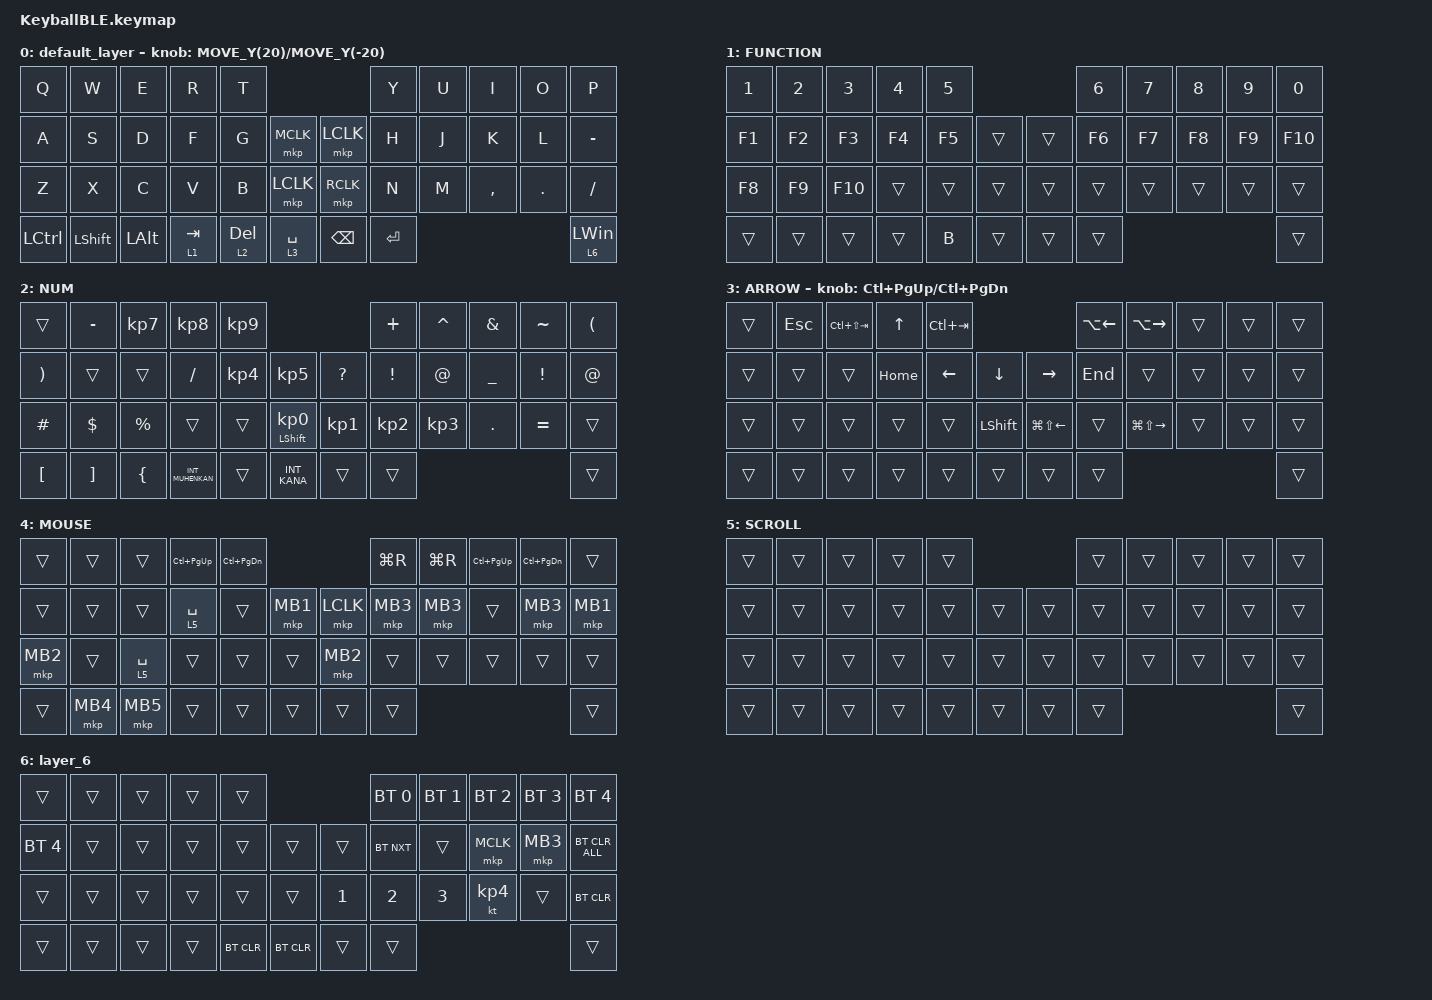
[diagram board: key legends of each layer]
#define ZMK_POINTING_DEFAULT_SCRL_VAL 16

#include <behaviors.dtsi>
#include <dt-bindings/zmk/bt.h>
#include <dt-bindings/zmk/keys.h>
#include <dt-bindings/zmk/pointing.h>

&mt {
    flavor = "balanced";
    quick-tap-ms = <0>;
};

/ {
    combos {
        compatible = "zmk,combos";

        double_quotation {
            bindings = <&kp DOUBLE_QUOTES>;
            key-positions = <20 21>;
        };
    };

    macros {
        to_layer_0: to_layer_0 {
            compatible = "zmk,behavior-macro-one-param";
            #binding-cells = <1>;
            bindings = <&to 0 &macro_param_1to1 &kp MACRO_PLACEHOLDER>;
            label = "TO_LAYER_0";
        };
    };

    behaviors {
        lt_to_layer_0: lt_to_layer_0 {
            compatible = "zmk,behavior-hold-tap";
            label = "LAYER_TAP_TO_0";
            bindings = <&mo>, <&to_layer_0>;

            #binding-cells = <2>;
            tapping-term-ms = <200>;
        };

        ROTATE: ROTATE {
            compatible = "zmk,behavior-sensor-rotate-var";
            label = "ROTATE";
            #sensor-binding-cells = <2>;
            bindings = <&msc>, <&msc>;

            tap-ms = <20>;
        };
    };

    keymap {
        compatible = "zmk,keymap";

        default_layer {
            bindings = <
&kp Q      &kp W           &kp E         &kp R      &kp T                                      &kp Y      &kp U  &kp I      &kp O       &kp P
&kp A      &kp S           &kp D         &kp F      &kp G      &mkp MCLK        &mkp LCLK      &kp H      &kp J  &kp K      &kp L       &kp MINUS
&kp Z      &kp X           &kp C         &kp V      &kp B      &mkp LCLK        &mkp RCLK      &kp N      &kp M  &kp COMMA  &kp PERIOD  &kp SLASH
&kp LCTRL  &kp LEFT_SHIFT  &kp LEFT_ALT  &lt 1 TAB  &lt 2 DEL  &lt 3 SPACE      &kp BACKSPACE  &kp ENTER                                &lt 6 LEFT_WIN
            >;

            sensor-bindings = <&ROTATE MOVE_Y(20) MOVE_Y(-20)>;
        };

        FUNCTION {
            bindings = <
&kp NUMBER_1  &kp NUMBER_2  &kp NUMBER_3  &kp NUMBER_4  &kp N5                      &kp NUMBER_6  &kp N7  &kp N8  &kp N9  &kp N0
&kp F1        &kp F2        &kp F3        &kp F4        &kp F5  &trans      &trans  &kp F6        &kp F7  &kp F8  &kp F9  &kp F10
&kp F8        &kp F9        &kp F10       &trans        &trans  &trans      &trans  &trans        &trans  &trans  &trans  &trans
&trans        &trans        &trans        &trans        &kp B   &trans      &trans  &trans                                &trans
            >;
        };

        NUM {
            bindings = <
&trans                 &kp MINUS          &kp KP_NUMBER_7  &kp KP_NUMBER_8   &kp KP_NUMBER_9                                                   &kp PLUS         &kp CARET        &kp AMPERSAND   &kp TILDE        &kp LEFT_PARENTHESIS
&kp RIGHT_PARENTHESIS  &trans             &trans           &kp SLASH         &kp KP_NUMBER_4  &kp KP_NUMBER_5                 &kp QUESTION     &kp EXCLAMATION  &kp AT_SIGN      &kp UNDERSCORE  &kp EXCLAMATION  &kp AT_SIGN
&kp HASH               &kp DOLLAR         &kp PERCENT      &trans            &trans           &mt LEFT_SHIFT KP_NUMBER_0      &kp KP_NUMBER_1  &kp KP_NUMBER_2  &kp KP_NUMBER_3  &kp PERIOD      &kp EQUAL        &trans
&kp LEFT_BRACKET       &kp RIGHT_BRACKET  &kp LEFT_BRACE   &kp INT_MUHENKAN  &trans           &kp INT_KANA                    &trans           &trans                                                             &trans
            >;
        };

        ARROW {
            bindings = <
&trans  &kp ESCAPE  &kp LC(LS(TAB))  &kp UP_ARROW  &kp LC(TAB)                                                 &kp LA(LEFT_ARROW)  &kp LA(RIGHT_ARROW)      &trans  &trans  &trans
&trans  &trans      &trans           &kp HOME      &kp LEFT_ARROW  &kp DOWN_ARROW      &kp RIGHT_ARROW         &kp END             &trans                   &trans  &trans  &trans
&trans  &trans      &trans           &trans        &trans          &kp LEFT_SHIFT      &kp LG(LS(LEFT_ARROW))  &trans              &kp LG(LS(RIGHT_ARROW))  &trans  &trans  &trans
&trans  &trans      &trans           &trans        &trans          &trans              &trans                  &trans                                                       &trans
            >;

            sensor-bindings = <&inc_dec_kp LC(PAGE_UP) LC(PAGE_DOWN)>;
        };

        MOUSE {
            bindings = <
&trans    &trans    &trans       &kp LC(PAGE_UP)  &kp LC(PAGE_DOWN)                           &kp LG(R)  &kp LG(R)  &kp LC(PAGE_UP)  &kp LC(PAGE_DOWN)  &trans
&trans    &trans    &trans       &lt 5 SPACE      &trans             &mkp MB1      &mkp LCLK  &mkp MB3   &mkp MB3   &trans           &mkp MB3           &mkp MB1
&mkp MB2  &trans    &lt 5 SPACE  &trans           &trans             &trans        &mkp MB2   &trans     &trans     &trans           &trans             &trans
&trans    &mkp MB4  &mkp MB5     &trans           &trans             &trans        &trans     &trans                                                    &trans
            >;
        };

        SCROLL {
            bindings = <
&trans  &trans  &trans  &trans  &trans                      &trans  &trans  &trans  &trans  &trans
&trans  &trans  &trans  &trans  &trans  &trans      &trans  &trans  &trans  &trans  &trans  &trans
&trans  &trans  &trans  &trans  &trans  &trans      &trans  &trans  &trans  &trans  &trans  &trans
&trans  &trans  &trans  &trans  &trans  &trans      &trans  &trans                          &trans
            >;
        };

        layer_6 {
            bindings = <
&trans        &trans  &trans  &trans  &trans                                    &bt BT_SEL 0  &bt BT_SEL 1  &bt BT_SEL 2  &bt BT_SEL 3  &bt BT_SEL 4
&bt BT_SEL 4  &trans  &trans  &trans  &trans      &trans          &trans        &bt BT_NXT    &trans        &mkp MCLK     &mkp MB3      &bt BT_CLR_ALL
&trans        &trans  &trans  &trans  &trans      &trans          &kp NUMBER_1  &kp NUMBER_2  &kp NUMBER_3  &kt KP_N4     &trans        &bt BT_CLR
&trans        &trans  &trans  &trans  &bt BT_CLR  &bt BT_CLR      &trans        &trans                                                  &trans
            >;
        };
    };
};
